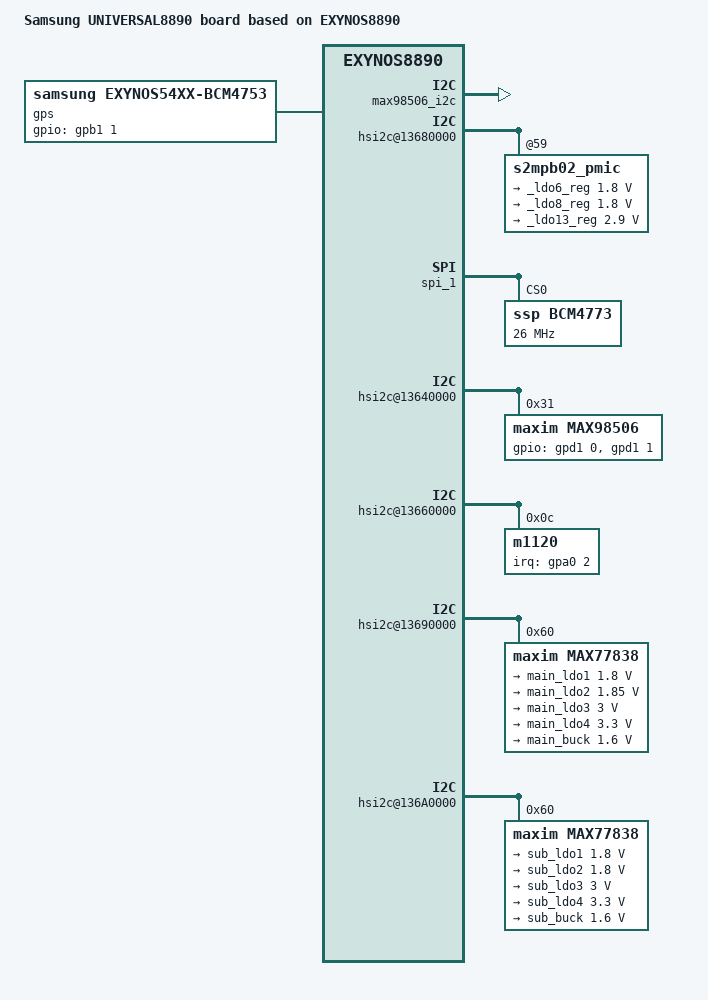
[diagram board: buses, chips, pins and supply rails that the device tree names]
/*
 * SAMSUNG UNIVERSAL8890 board device tree source
 *
 * Copyright (c) 2015 Samsung Electronics Co., Ltd.
 *		http://www.samsung.com
 *
 * This program is free software; you can redistribute it and/or modify
 * it under the terms of the GNU General Public License version 2 as
 * published by the Free Software Foundation.
*/
/dts-v1/;
#include "exynos8890-vlte_common.dtsi"
#include "exynos8890-vlte_gpio_00.dtsi"
#include "exynos8890-sound-cs47l91.dtsi"
#include "exynos8890-vlte_battery_eur_00.dtsi"
#include "exynos8890-vlte_display_01.dtsi"
#include "exynos8890-vlte_mst_00.dtsi"
#include "exynos8890-vlte_fingerprint-sensor_00.dtsi"
/ {

	model = "Samsung UNIVERSAL8890 board based on EXYNOS8890";
	model_info-chip = <8890>;
	model_info-platform = "android";
	model_info-subtype = "samsung";
	model_info-hw_rev = <1>;
	model_info-hw_rev_end = <255>;
	compatible = "samsung,exynos8890","samsung,UNIVERSAL8890";

	audio_pdata {
		compatible = "samsung,audio-pdata";
		seamless_voicewakeup;
		status = "okay";
	};

	pinctrl@10580000 {
		codec_irq: codec-irq {
			samsung,pins = "gpa2-6";
			samsung,pin-function = <0xf>;
			samsung,pin-pud = <0>;
		};
		max98506_ctrl: max98506-ctl {
			samsung,pins ="gpa2-2";
			samsung,pin-function = <0>;
			samsung,pin-pud = <0>;
			samsung,pin-con-pdn =<2>;
			samsung,pin-pud-pdn = <0>;
		};
	};

	pinctrl@136D0000 {
		max98506_i2c: max98506-i2c {
			samsung,pins = "gpd1-0", "gpd1-1";
			samsung,pin-pud = <0>;
			status = "okay";
		};
	};

	hsi2c@13680000 {
		status = "okay";
		s2mpb02_pmic@59 {
			regulators {

				_ldo6_reg: s2mpb02-ldo6 {
					regulator-name = "VDDIO_1.8V_VT";
					regulator-min-microvolt = <1800000>;
					regulator-max-microvolt = <1800000>;
				};

				_ldo8_reg: s2mpb02-ldo8 {
					regulator-name = "VDDIO_1.8V_COMP";
					regulator-min-microvolt = <1800000>;
					regulator-max-microvolt = <1800000>;
				};

				_ldo13_reg: s2mpb02-ldo13 {
					regulator-name = "VDDA_2.9V_VT";
					regulator-min-microvolt = <2900000>;
					regulator-max-microvolt = <2900000>;
				};
			};
		};
	};

	pinctrl@14CC0000 {
		codec_reset: codec-reset {
			samsung,pins ="gpe6-5";
			samsung,pin-function = <1>;
			samsung,pin-pud = <1>;
			samsung,pin-con-pdn =<3>;
			samsung,pin-pud-pdn = <1>;
			samsung,pin-val = <0>;
		};
	};

	spi_1: spi@14d30000 {
		#address-cells = <1>;
		#size-cells = <0>;

		pinctrl-names = "default";
		pinctrl-0 = <&spi1_mosi_sck_ssn &spi1_miso>;

		num-cs = <1>;
		status = "okay";

		BCM4773@0 {
			compatible = "ssp,BCM4773";
			reg = <0>;
			spi-max-frequency = <26000000>;
			spi-cpol;
			spi-cpha;
			pinctrl-names = "default";
			pinctrl-0 = <&ssp_host_req &ssp_mcu_req &ssp_mcu_resp &ssp_batch_wake_irq>;

			gpio-controller;
			#gpio-cells = <2>;
			ssp-host-req = <&gpa3 4 0x00>;
			ssp-mcu-req = <&gpe6 4 0x00>;
			ssp-mcu-resp = <&gpg0 2 0x00>;
			ssp-batch-wake-irq = <&gpa3 1 0x00>;
			ssp-acc-position = <1>;
			ssp-acc-sub-position = <5>;
			ssp-mag-position = <0>;
			ssp-sns-combination = <0>;
			ssp,prox-hi_thresh = <600>;
			ssp,prox-low_thresh = <400>;
			ssp,prox-cal_hi_thresh = <8192>;
			SSP,prox-cal_low_thresh = <5000>;
			ssp-ap-rev = <1>;
            ssp-mag-type = <1>;
			ssp-mag-array = /bits/ 8 <0 0 0 0 0 0 0 0 0 0 0 0 0 0 0 0 0 0 0 0 0 0 0 0 0 0 0>;
			ssp-glass-type = <1>;
			ssp-hall-threshold = /bits/ 16 <1 (-50) (-60) (-90) (-95)>;

			controller-data {
				cs-gpio = <&gpe2 5 0>;
				samsung,spi-feedback-delay = <0>;
				};
			};
	};

	gps {
		compatible = "samsung,exynos54xx-bcm4753";

		pinctrl-names = "default";
		pinctrl-0 = <&ssp_gps_pwr_en>;

		gpios = <&gpb1 1 0x0>;
		status = "okay";
	};

	hsi2c@13640000 {
		status = "okay";
		max98506@31 {
			compatible = "maxim,max98506";
			reg = <0x31>;
			pinctrl-names = "default";
			pinctrl-0 = <&max98506_i2c &max98506_ctrl>;
			gpios = <&gpd1 0 0
				&gpd1 1 0
				>;
			i2c-gpio,delay-us = <2>;
			maxim,platform_type = <0>;
			maxim,spk-gain = <0x14>;
			maxim,sysclk = <12288000>;
			maxim,vmon_slot = <0>;
			maxim,platform_info = <0 0x4000 0x0F010203 0x0FF10203 0x00000000 40>;
			maxim,boost_step = <
					0x0F 0x0F 0x0F 0x0F
					0x0F 0x0F 0x0F 0x0F
					0x0F 0x0F 0x0F 0x0F
					0x0F 0x0F 0x02 0x00
					>;
			maxim,adc_threshold = <7>;
			maxim,registers-of-amp =
				<0x1F 0x00>,
				<0x21 0xC0>,
				<0x2F 0x00>;
		};
	};

	hsi2c@13660000 {
		status = "okay";
		samsung,i2c-sda-delay = <100>;
		samsung,i2c-max-bus-freq = <400000>;

		m1120@0C {
			compatible = "m1120";
			reg = <0x0C>;
			pinctrl-names = "default";
			pinctrl-0 = <&hall_irq>;
			m1120,irq-gpio = <&gpa0 2 0>;
			m1120,thrhigh_on = <200>;
			m1120,thrhigh_off = <240>;
			m1120,thrlow_on = <(-50)>;
			m1120,thrlow_off = <(-200)>;
		};
	};

	/* HSI2C10 */
	hsi2c@13690000 {
		status = "okay";

		max77838@60 {
			compatible = "maxim,max77838";
			reg = <0x60>;

			regulators {
				main_ldo1: LDO1 {
					regulator-name = "VDD_MAIN_LCD_1P8";
					regulator-min-microvolt = <1800000>;
					regulator-max-microvolt = <1800000>;
					regulator-boot-on;
				};

				main_ldo2: LDO2 {
					regulator-name = "main_ldo2";
					regulator-min-microvolt = <1850000>;
					regulator-max-microvolt = <1850000>;
				};

				main_ldo3: LDO3 {
					regulator-name = "VDD_MAIN_LCD_3P0";
					regulator-min-microvolt = <3000000>;
					regulator-max-microvolt = <3000000>;
					regulator-boot-on;
				};

				main_ldo4: LDO4 {
					regulator-name = "main_ldo4";
					regulator-min-microvolt = <3300000>;
					regulator-max-microvolt = <3300000>;
				};

				main_buck: BUCK {
					regulator-name = "vdd_main_1p6_ddr";
					regulator-min-microvolt = <1600000>;
					regulator-max-microvolt = <1600000>;
					regulator-boot-on;
				};
			};
		};
	};

	/* HSI2C11 */
	hsi2c@136A0000 {
		status = "okay";

		max77838@60 {
			compatible = "maxim,max77838";
			reg = <0x60>;

			regulators {
				sub_ldo1: LDO1 {
					regulator-name = "VDD_SUB_LCD_1P8";
					regulator-min-microvolt = <1800000>;
					regulator-max-microvolt = <1800000>;
					regulator-boot-on;
				};

				sub_ldo2: LDO2 {
					regulator-name = "sub_tsp_io";
					regulator-min-microvolt = <1800000>;
					regulator-max-microvolt = <1800000>;
				};

				sub_ldo3: LDO3 {
					regulator-name = "VDD_SUB_LCD_3P0";
					regulator-min-microvolt = <3000000>;
					regulator-max-microvolt = <3000000>;
					regulator-boot-on;
				};

				sub_ldo4: LDO4 {
					regulator-name = "sub_tsp_avdd";
					regulator-min-microvolt = <3300000>;
					regulator-max-microvolt = <3300000>;
				};

				sub_buck: BUCK {
					regulator-name = "vdd_sub_1p6_ddr";
					regulator-min-microvolt = <1600000>;
					regulator-max-microvolt = <1600000>;
					regulator-boot-on;
				};
			};
		};
	};

	hall {
		status = "disabled";
	};

	certify_hall {
		status = "disabled";
	};
};
